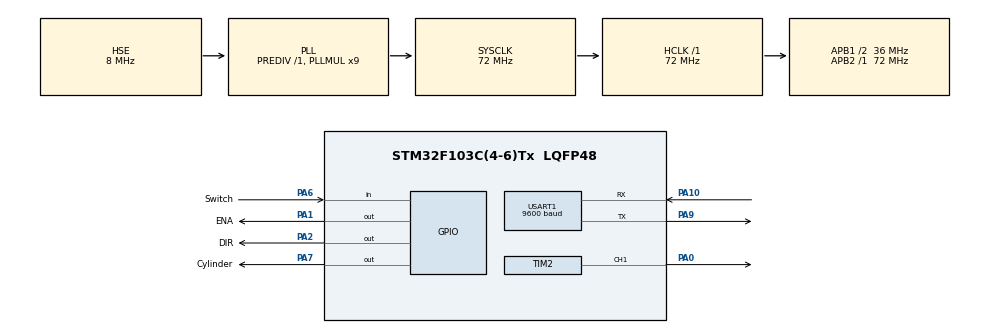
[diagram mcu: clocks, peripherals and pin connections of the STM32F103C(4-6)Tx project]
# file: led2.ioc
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FREERTOS.Tasks01=defaultTask,24,128,StartDefaultTask,Default,NULL,Dynamic,NULL,NULL
Mcu.Family=STM32F1
Mcu.Name=STM32F103C(4-6)Tx
Mcu.Package=LQFP48
NVIC.PriorityGroup=NVIC_PRIORITYGROUP_4
NVIC.TIM3_IRQn=true\:15\:0\:false\:false\:true\:false\:false\:true\:true
NVIC.TimeBase=TIM3_IRQn
NVIC.TimeBaseIP=TIM3
PA0-WKUP.Signal=S_TIM2_CH1_ETR
PA1.GPIO_Label=ENA
PA1.GPIO_Speed=GPIO_SPEED_FREQ_HIGH
PA1.PinState=GPIO_PIN_SET
PA1.Signal=GPIO_Output
PA10.Mode=Asynchronous
PA10.Signal=USART1_RX
PA13.Mode=Serial_Wire
PA13.Signal=SYS_JTMS-SWDIO
PA14.Mode=Serial_Wire
PA14.Signal=SYS_JTCK-SWCLK
PA2.GPIO_Label=DIR
PA2.GPIO_Speed=GPIO_SPEED_FREQ_HIGH
PA2.Signal=GPIO_Output
PA6.GPIO_Label=Switch
PA6.GPIO_PuPd=GPIO_PULLUP
PA6.Signal=GPIO_Input
PA7.GPIO_Label=Cylinder
PA7.PinState=GPIO_PIN_RESET
PA7.Signal=GPIO_Output
PA9.Mode=Asynchronous
PA9.Signal=USART1_TX
PD0-OSC_IN.Mode=HSE-External-Oscillator
PD0-OSC_IN.Signal=RCC_OSC_IN
PD1-OSC_OUT.Mode=HSE-External-Oscillator
PD1-OSC_OUT.Signal=RCC_OSC_OUT
ProjectManager.HeapSize=0x200
ProjectManager.StackSize=0x400
ProjectManager.TargetToolchain=CMake
RCC.AHBFreq_Value=72000000
RCC.APB1CLKDivider=RCC_HCLK_DIV2
RCC.APB1Freq_Value=36000000
RCC.APB1TimFreq_Value=72000000
RCC.APB2Freq_Value=72000000
RCC.APB2TimFreq_Value=72000000
RCC.HCLKFreq_Value=72000000
RCC.PLLMUL=RCC_PLL_MUL9
RCC.PLLSourceVirtual=RCC_PLLSOURCE_HSE
RCC.SYSCLKFreq_VALUE=72000000
RCC.SYSCLKSource=RCC_SYSCLKSOURCE_PLLCLK
RCC.USBFreq_Value=72000000
SH.S_TIM2_CH1_ETR.0=TIM2_CH1,PWM Generation1 CH1
TIM2.AutoReloadPreload=TIM_AUTORELOAD_PRELOAD_ENABLE
TIM2.Channel-PWM\ Generation1\ CH1=TIM_CHANNEL_1
TIM2.Period=99
TIM2.Prescaler=71
USART1.BaudRate=9600
USART1.VirtualMode=VM_ASYNC
VP_FREERTOS_VS_CMSIS_V2.Mode=CMSIS_V2
VP_SYS_VS_tim3.Mode=TIM3
VP_TIM2_VS_ClockSourceINT.Mode=Internal
board=custom

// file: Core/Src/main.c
/* USER CODE BEGIN Header */
/**
  ******************************************************************************
  * @file           : main.c
  * @brief          : Main program body
  ******************************************************************************
  * @attention
  *
  * Copyright (c) 2026 STMicroelectronics.
  * All rights reserved.
  *
  * This software is licensed under terms that can be found in the LICENSE file
  * in the root directory of this software component.
  * If no LICENSE file comes with this software, it is provided AS-IS.
  *
  ******************************************************************************
  */
/* USER CODE END Header */
#include "main.h"
#include "cmsis_os.h"
#include "tim.h"
#include "usart.h"
#include "gpio.h"

void SystemClock_Config(void);
void MX_FREERTOS_Init(void);

int main(void)
{

  /* MCU Configuration--------------------------------------------------------*/

  /* Reset of all peripherals, Initializes the Flash interface and the Systick. */
  HAL_Init();

  /* Configure the system clock */
  SystemClock_Config();

  /* Initialize all configured peripherals */
  MX_GPIO_Init();
  MX_TIM2_Init();
  MX_USART1_UART_Init();
  /* USER CODE BEGIN 2 */
  __HAL_TIM_SET_COMPARE(&htim2, TIM_CHANNEL_1, 1500);
  HAL_TIM_PWM_Start(&htim2, TIM_CHANNEL_1);
  /* USER CODE END 2 */

  /* Init scheduler */
  osKernelInitialize();  /* Call init function for freertos objects (in cmsis_os2.c) */
  MX_FREERTOS_Init();

  /* Start scheduler */
  osKernelStart();

  /* We should never get here as control is now taken by the scheduler */

  /* Infinite loop */
  while (1)
  {

  }
}

void SystemClock_Config(void)
{
  RCC_OscInitTypeDef RCC_OscInitStruct = {0};
  RCC_ClkInitTypeDef RCC_ClkInitStruct = {0};

  /** Initializes the RCC Oscillators according to the specified parameters
  * in the RCC_OscInitTypeDef structure.
  */
  RCC_OscInitStruct.OscillatorType = RCC_OSCILLATORTYPE_HSE;
  RCC_OscInitStruct.HSEState = RCC_HSE_ON;
  RCC_OscInitStruct.HSEPredivValue = RCC_HSE_PREDIV_DIV1;
  RCC_OscInitStruct.HSIState = RCC_HSI_ON;
  RCC_OscInitStruct.PLL.PLLState = RCC_PLL_ON;
  RCC_OscInitStruct.PLL.PLLSource = RCC_PLLSOURCE_HSE;
  RCC_OscInitStruct.PLL.PLLMUL = RCC_PLL_MUL9;
  if (HAL_RCC_OscConfig(&RCC_OscInitStruct) != HAL_OK)
  {
    Error_Handler();
  }

  /** Initializes the CPU, AHB and APB buses clocks
  */
  RCC_ClkInitStruct.ClockType = RCC_CLOCKTYPE_HCLK|RCC_CLOCKTYPE_SYSCLK
                              |RCC_CLOCKTYPE_PCLK1|RCC_CLOCKTYPE_PCLK2;
  RCC_ClkInitStruct.SYSCLKSource = RCC_SYSCLKSOURCE_PLLCLK;
  RCC_ClkInitStruct.AHBCLKDivider = RCC_SYSCLK_DIV1;
  RCC_ClkInitStruct.APB1CLKDivider = RCC_HCLK_DIV2;
  RCC_ClkInitStruct.APB2CLKDivider = RCC_HCLK_DIV1;

  if (HAL_RCC_ClockConfig(&RCC_ClkInitStruct, FLASH_LATENCY_2) != HAL_OK)
  {
    Error_Handler();
  }
}

void HAL_TIM_PeriodElapsedCallback(TIM_HandleTypeDef *htim)
{
  if (htim->Instance == TIM3)
  {
    HAL_IncTick();
  }
}

void Error_Handler(void)
{
  __disable_irq();
  while (1)
  {
  }
}

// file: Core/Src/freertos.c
/* USER CODE BEGIN Header */
/**
  ******************************************************************************
  * File Name          : freertos.c
  * Description        : Code for freertos applications
  ******************************************************************************
  * @attention
  *
  * Copyright (c) 2026 STMicroelectronics.
  * All rights reserved.
  *
  * This software is licensed under terms that can be found in the LICENSE file
  * in the root directory of this software component.
  * If no LICENSE file comes with this software, it is provided AS-IS.
  *
  ******************************************************************************
  */
/* USER CODE END Header */

#include "FreeRTOS.h"
#include "task.h"
#include "main.h"
#include "cmsis_os.h"

/* USER CODE BEGIN Includes */
#include "usart.h"
/* USER CODE END Includes */

/* USER CODE BEGIN PD */
#define FRAME_HEADER_1   0xAA
#define FRAME_HEADER_2   0x55
#define FRAME_CMD        0x10

/* Jetson 回复帧协议: BB STATUS XOR (3字节) */
#define REPLY_HEADER     0xBB
#define REPLY_DEFECT     0x01   /* 有缺陷 → 剔除 */
#define REPLY_NORMAL     0x02   /* 无缺陷 → 放行 */

#define CYLINDER_KICK_MS 1000   /* PA7 高电平持续时间 */
#define UART_REPLY_TIMEOUT_MS 30000 /* 等待 Jetson 回复超时 (30s, 给足推理时间) */
#define DEBOUNCE_MS      20
#define SWITCH_POLL_MS   10
/* USER CODE END PD */

/* USER CODE BEGIN Variables */
static osSemaphoreId_t detectSemHandle;
static osSemaphoreId_t uartSemHandle;
static osSemaphoreId_t uartDoneSemHandle;
static volatile uint8_t g_uartReply;   /* 上位机回复字节：0x01 或 0x02 */
/* USER CODE END Variables */
/* Definitions for defaultTask */
osThreadId_t defaultTaskHandle;
const osThreadAttr_t defaultTask_attributes = {
  .name = "defaultTask",
  .stack_size = 128 * 4,
  .priority = (osPriority_t) osPriorityNormal,
};

/* USER CODE BEGIN FunctionPrototypes */
static void vDetectTask(void *argument);
static void vControlTask(void *argument);
static void vUartTask(void *argument);
/* USER CODE END FunctionPrototypes */

void StartDefaultTask(void *argument);

void MX_FREERTOS_Init(void); /* (MISRA C 2004 rule 8.1) */

void MX_FREERTOS_Init(void) {

  /* USER CODE BEGIN RTOS_SEMAPHORES */
  /* add semaphores, ... */
  detectSemHandle  = osSemaphoreNew(1, 0, NULL);
  uartSemHandle    = osSemaphoreNew(1, 0, NULL);
  uartDoneSemHandle = osSemaphoreNew(1, 0, NULL);
  /* USER CODE END RTOS_SEMAPHORES */

  /* Create the thread(s) */
  /* creation of defaultTask */
  defaultTaskHandle = osThreadNew(StartDefaultTask, NULL, &defaultTask_attributes);

  /* USER CODE BEGIN RTOS_THREADS */
  /* add threads, ... */
  static const osThreadAttr_t detectTask_attr  = { .name = "DetectTask",  .stack_size = 128 * 4, .priority = osPriorityNormal };
  static const osThreadAttr_t controlTask_attr = { .name = "ControlTask", .stack_size = 128 * 4, .priority = osPriorityAboveNormal };
  static const osThreadAttr_t uartTask_attr    = { .name = "UartTask",    .stack_size = 256 * 4, .priority = osPriorityNormal };
  osThreadNew(vDetectTask,  NULL, &detectTask_attr);
  osThreadNew(vControlTask, NULL, &controlTask_attr);
  osThreadNew(vUartTask,    NULL, &uartTask_attr);
  /* USER CODE END RTOS_THREADS */

}

void StartDefaultTask(void *argument)
{
  for(;;)
  {
    osDelay(1);
  }
}

/* USER CODE BEGIN Application */

/**
 * @brief 检测任务：轮询光电开关 (PA6 低电平有效)，去抖后通知控制任务
 */
static void vDetectTask(void *argument)
{
    for (;;)
    {
        if (HAL_GPIO_ReadPin(Switch_GPIO_Port, Switch_Pin) == GPIO_PIN_RESET)
        {
            osDelay(DEBOUNCE_MS);   /* 去抖：等待后再次确认 */
            if (HAL_GPIO_ReadPin(Switch_GPIO_Port, Switch_Pin) == GPIO_PIN_RESET)
            {
                osSemaphoreRelease(detectSemHandle);

                /* 等待物体离开，避免重复触发 */
                while (HAL_GPIO_ReadPin(Switch_GPIO_Port, Switch_Pin) == GPIO_PIN_RESET)
                {
                    osDelay(SWITCH_POLL_MS);
                }
            }
        }
        osDelay(SWITCH_POLL_MS);
    }
}

/**
 * @brief 控制任务：停带 → 发串口 → 等上位机回复 → 按回复动作 → 启带
 */
static void vControlTask(void *argument)
{
    for (;;)
    {
        osSemaphoreAcquire(detectSemHandle, osWaitForever);

        /* 停止传送带 */
        HAL_GPIO_WritePin(ENA_GPIO_Port, ENA_Pin, GPIO_PIN_RESET);

        /* 通知串口任务发送帧，并等待上位机回复（串口任务会填充 g_uartReply） */
        osSemaphoreRelease(uartSemHandle);
        osSemaphoreAcquire(uartDoneSemHandle, osWaitForever);

        if (g_uartReply == REPLY_DEFECT)
        {
            /* 上位机判定为缺陷：PA7 高电平 1s（剔除动作），再启带 */
            HAL_GPIO_WritePin(Cylinder_GPIO_Port, Cylinder_Pin, GPIO_PIN_SET);
            osDelay(CYLINDER_KICK_MS);
            HAL_GPIO_WritePin(Cylinder_GPIO_Port, Cylinder_Pin, GPIO_PIN_RESET);
        }
        /* else REPLY_NORMAL 或超时：直接启带，不触发 PA7 */

        /* 恢复传送带 */
        HAL_GPIO_WritePin(ENA_GPIO_Port, ENA_Pin, GPIO_PIN_SET);
    }
}

/**
 * @brief 串口任务：组帧发送，然后阻塞等待 Jetson 回复并解析
 *        Jetson 回复帧格式: BB STATUS XOR (3字节)
 *        STATUS=0x01 剔除 | 0x02 放行, XOR = BB ^ STATUS
 */
static void vUartTask(void *argument)
{
    static const uint8_t payload[] = {0x01, 0x00};  /* 固定占位数据 */
    uint8_t frame[6];
    uint8_t xor_val;
    uint8_t reply_buf[3];
    size_t i;

    for (;;)
    {
        osSemaphoreAcquire(uartSemHandle, osWaitForever);

        /* 组帧 */
        frame[0] = FRAME_HEADER_1;
        frame[1] = FRAME_HEADER_2;
        frame[2] = FRAME_CMD;
        frame[3] = payload[0];
        frame[4] = payload[1];

        /* XOR 校验：对命令字节 + 数据字节做异或 */
        xor_val = FRAME_CMD;
        for (i = 0; i < sizeof(payload); i++)
        {
            xor_val ^= payload[i];
        }
        frame[5] = xor_val;

        HAL_UART_Transmit(&huart1, frame, sizeof(frame), 100);

        /* 等待 Jetson 回复3字节: BB STATUS XOR */
        if (HAL_UART_Receive(&huart1, reply_buf, 3, UART_REPLY_TIMEOUT_MS) == HAL_OK)
        {
            /* 校验回复帧: 帧头=0xBB, XOR=BB^STATUS */
            if (reply_buf[0] == REPLY_HEADER &&
                reply_buf[2] == (reply_buf[0] ^ reply_buf[1]))
            {
                g_uartReply = reply_buf[1];
            }
            else
            {
                g_uartReply = REPLY_NORMAL;  /* 校验失败，按无缺陷处理 */
            }
        }
        else
        {
            g_uartReply = REPLY_NORMAL;  /* 超时：按无缺陷处理 */
        }

        /* 通知控制任务：回复已就绪 */
        osSemaphoreRelease(uartDoneSemHandle);
    }
}

/* USER CODE END Application */
